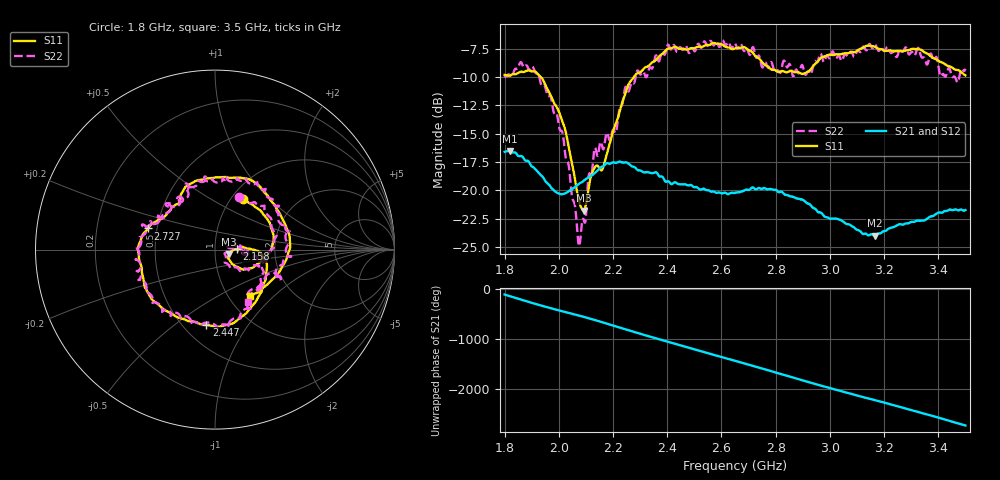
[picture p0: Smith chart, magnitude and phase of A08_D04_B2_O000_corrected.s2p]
! Created with skrf 1.9.0 (http://scikit-rf.org).
# Hz S RI R 50.0
!freq ReS11 ImS11 ReS21 ImS21 ReS12 ImS12 ReS22 ImS22
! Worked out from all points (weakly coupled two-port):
!   1601 points, 1.8 GHz to 3.5 GHz, reference 50 ohm
!   highest |S21| = -16.51 dB at 1.818 GHz (marker M1); lowest = -24.0 dB at 3.165 GHz (marker M2)
!   lowest |S11| = -21.8 dB at 2.091 GHz (marker M3), VSWR 1.18, Z = 58.3 - j2.9 ohm
!   |S11| at or under -10 dB: 1.934 GHz to 2.277 GHz (343 MHz wide, 16.3 % of centre)
!   |S22| runs from -24.9 to -6.8 dB; largest |S21 - S12| = 0.0024
!   S11 on the Smith chart (normalised r, x): 1.8 GHz: 1.12, +0.71; 2.158 GHz: 1.28, +0.01; 2.447 GHz: 0.64, -0.66; 2.727 GHz: 0.45, +0.12; 3.5 GHz: 1.26, -0.72
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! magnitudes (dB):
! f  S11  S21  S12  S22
! 1.8 GHz  -9.8  -16.6  -16.6  -9.9
! 1.818 GHz  -9.9  -16.5  -16.5  -9.8
! 1.903 GHz  -9.5  -17.9  -17.9  -9.0
! 1.968 GHz  -11.5  -19.6  -19.7  -11.6
! 2.015 GHz  -14.0  -20.3  -20.3  -15.0
! 2.072 GHz  -20.7  -19.5  -19.5  -24.6
! 2.084 GHz  -21.6  -19.3  -19.2  -23.2
! 2.091 GHz  -21.8  -19.2  -19.2  -22.5
! 2.13 GHz  -18.1  -18.5  -18.5  -16.5
! 2.158 GHz  -18.2  -17.9  -17.9  -15.9
! 2.209 GHz  -14.2  -17.6  -17.5  -14.9
! 2.259 GHz  -10.5  -17.7  -17.7  -11.2
! 2.367 GHz  -8.2  -18.7  -18.6  -8.6
! 2.447 GHz  -7.5  -19.5  -19.5  -7.3
! 2.65 GHz  -7.5  -20.2  -20.2  -7.0
! 2.727 GHz  -8.2  -19.9  -19.9  -8.2
! 2.934 GHz  -9.2  -21.5  -21.4  -9.5
! 3.165 GHz  -7.3  -24.0  -24.0  -7.1
! 3.217 GHz  -7.6  -23.4  -23.3  -7.4
! 3.326 GHz  -7.5  -22.7  -22.6  -7.4
! 3.468 GHz  -9.4  -21.7  -21.7  -10.4
! 3.5 GHz  -9.8  -21.7  -21.7  -9.2
